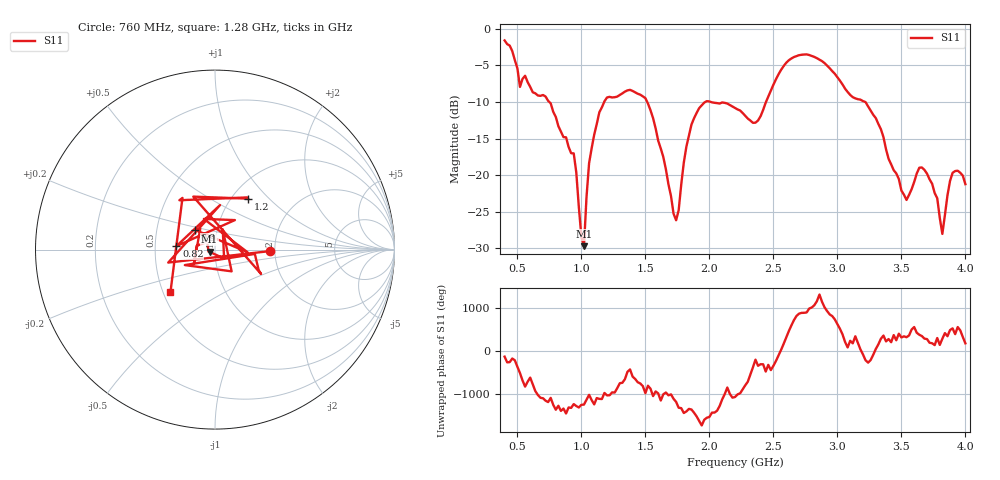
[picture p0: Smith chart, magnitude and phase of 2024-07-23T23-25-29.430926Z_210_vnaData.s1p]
!Created with skrf (http://scikit-rf.org).
# Hz S RI R 50.0
!freq ReS11 ImS11
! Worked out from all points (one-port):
!   181 points, 400 MHz to 4 GHz, reference 50 ohm
!   lowest |S11| = -29.7 dB at 1.02 GHz (marker M1), VSWR 1.07, Z = 47 - j1.16 ohm
!   |S11| at or under -10 dB: 1.514 GHz to 1.969 GHz (455.5 MHz wide, 26.2 % of centre); 2.01 GHz to 2.442 GHz (432.2 MHz wide, 19.4 % of centre); 3.216 GHz to end of sweep (the widest 3 of 4)
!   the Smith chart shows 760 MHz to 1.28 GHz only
!   S11 on the Smith chart (normalised r, x): 760 MHz: 1.89, -0.03; 820 MHz: 0.65, +0.03; 900 MHz: 0.78, +0.18; 1.2 GHz: 1.19, +0.76; 1.28 GHz: 0.55, -0.29
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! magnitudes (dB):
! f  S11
! 400 MHz  -1.6
! 520 MHz  -8.0
! 760 MHz  -10.2
! 820 MHz  -13.3
! 860 MHz  -14.8
! 900 MHz  -16.2
! 940 MHz  -17.0
! 1.02 GHz  -29.7
! 1.06 GHz  -18.4
! 1.2 GHz  -9.4
! 1.28 GHz  -9.3
! 1.3 GHz  -9.0
! 1.5 GHz  -9.5
! 1.72 GHz  -25.3
! 1.76 GHz  -24.8
! 1.82 GHz  -16.1
! 1.92 GHz  -10.9
! 2.2 GHz  -10.8
! 2.38 GHz  -12.5
! 2.66 GHz  -3.9
! 3.1 GHz  -9.0
! 3.3 GHz  -12.2
! 3.56 GHz  -22.7
! 3.68 GHz  -19.3
! 3.78 GHz  -23.2
! 3.82 GHz  -28.0
! 3.9 GHz  -19.7
! 4 GHz  -21.2
